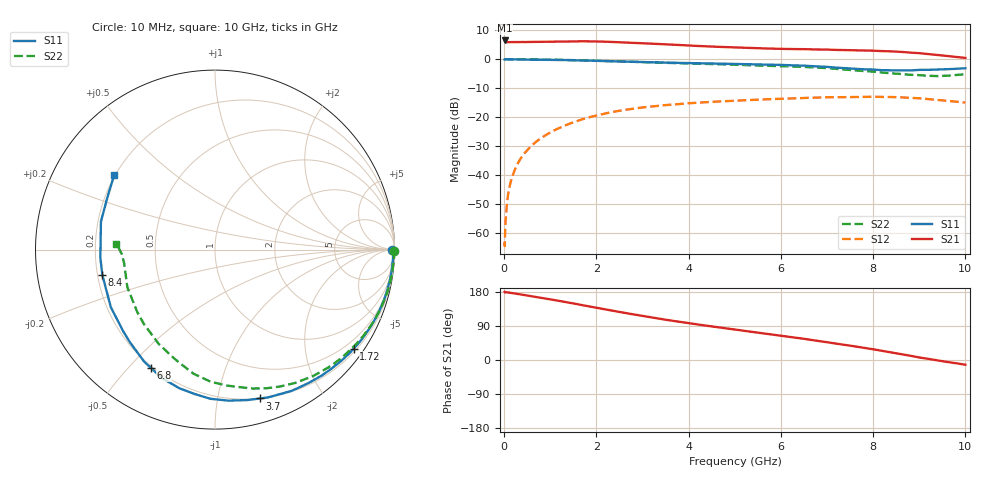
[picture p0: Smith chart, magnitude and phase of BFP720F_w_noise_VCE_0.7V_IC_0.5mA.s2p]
! (c) 2016  Infineon Technologies AG, Munich
! Infineon Technologies  Discrete & RF Semiconductors
! BFP720F
! VCE =  0.7 V,  IC =  0.5 mA
! Common Emitter S-Parameters:  Jan 2016
# GHz  S  MA  R  50
!  f  S11  S21  S12  S22
! GHz  MAG  ANG  MAG  ANG  MAG  ANG  MAG  ANG
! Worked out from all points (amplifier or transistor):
!   233 points, 10 MHz to 10 GHz, reference 50 ohm
!   highest |S21| = 6.5 dB at 10 MHz (marker M1)
!   |S21| within 3 dB of that: start of sweep to 6.506 GHz
!   unconditionally stable (mu >= 1): nowhere
!   at 200 MHz: K = 0.01, MSG = 22.7 dB, |S12| = -39.4 dB
!   at 1.74 GHz: K = 0.13, MSG = 13.3 dB, |S12| = -20.5 dB
!   at 10 GHz: K = 0.80, MSG = 7.7 dB, |S12| = -15.0 dB
!   lowest NFmin = 0.54 dB at 450 MHz
!   S11 on the Smith chart (normalised r, x): 10 MHz: open; 1.72 GHz: 0.27, -3.10; 3.7 GHz: 0.20, -1.33; 6.8 GHz: 0.19, -0.58; 8.4 GHz: 0.22, -0.11; 10 GHz: 0.20, +0.32
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0.01  0.9879 -0.1  2.104 179.8  0.0007 6.5  1 -0.5
0.015  0.9912 -0.2  2.048 179.1  0.0006 56.9  1 -0.7
0.02  0.9945 -0.3  1.993 178.3  0.001 89.5  1 -1.0
0.025  0.9942 -0.4  1.988 178.4  0.0013 89.6  0.9997 -1.0
0.05  0.9929 -1.0  1.966 178.9  0.0027 89.9  0.9983 -0.9
0.105  0.9931 -2.1  1.967 177.9  0.0057 89.0  0.9989 -1.8
0.19  0.9925 -3.7  1.971 176.3  0.0102 87.2  0.9979 -3.1
0.34  0.9913 -6.7  1.974 173.4  0.0184 84.8  0.9962 -5.7
0.56  0.9876 -11.1  1.984 169.0  0.0304 80.9  0.9933 -9.6
0.84  0.9818 -16.7  1.997 163.4  0.0458 75.9  0.9883 -14.4
1.68  0.9518 -34.7  2.038 145.1  0.0913 59.8  0.9569 -29.6
1.72  0.9499 -35.5  2.038 144.2  0.0934 59.0  0.9552 -30.4
2.2  0.9282 -45.7  2.005 133.4  0.1166 49.4  0.9313 -39.2
2.58  0.911 -53.4  1.951 125.0  0.1325 42.0  0.9123 -45.7
3.4  0.8776 -68.4  1.824 108.3  0.1588 27.2  0.8707 -57.6
3.7  0.8662 -73.2  1.773 102.6  0.1664 22.3  0.8571 -61.2
5.1  0.8269 -93.0  1.587 78.8  0.1943 1.6  0.7979 -75.6
6.8  0.7499 -118.4  1.47 50.6  0.2179 -22.4  0.7145 -96.4
7.6  0.6849 -138.2  1.422 36.0  0.2228 -35.1  0.6424 -111.8
8.4  0.6433 -167.4  1.364 19.9  0.2229 -49.4  0.5727 -134.0
9  0.6544 166.2  1.271 6.7  0.2122 -61.4  0.5314 -156.8
10  0.6985 143.4  1.053 -12.5  0.1787 -78.1  0.5501 176.5
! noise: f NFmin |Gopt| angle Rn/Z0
0.45  0.54  0.9  6  0.96
0.9  0.77  0.88  13  1.01
2.4  1.03  0.86  32  0.7
5.5  1.54  0.73  97  0.46
